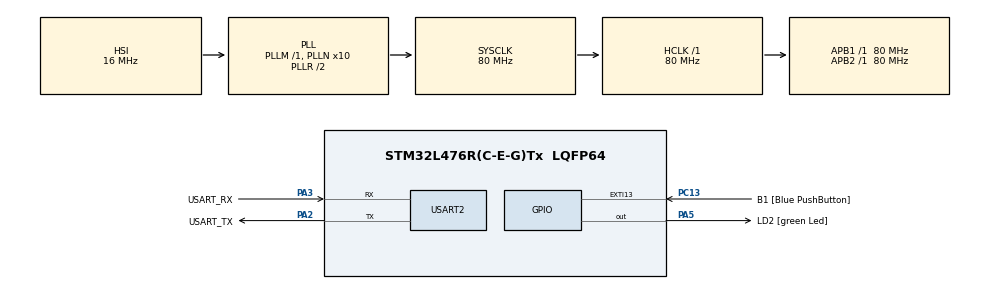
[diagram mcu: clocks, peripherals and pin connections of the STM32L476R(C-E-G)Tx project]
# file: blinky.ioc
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Mcu.Family=STM32L4
Mcu.Name=STM32L476R(C-E-G)Tx
Mcu.Package=LQFP64
NVIC.PriorityGroup=NVIC_PRIORITYGROUP_4
PA13\ (JTMS-SWDIO).GPIO_Label=TMS
PA13\ (JTMS-SWDIO).Mode=Serial_Wire
PA13\ (JTMS-SWDIO).Signal=SYS_JTMS-SWDIO
PA14\ (JTCK-SWCLK).GPIO_Label=TCK
PA14\ (JTCK-SWCLK).Mode=Serial_Wire
PA14\ (JTCK-SWCLK).Signal=SYS_JTCK-SWCLK
PA2.GPIO_Label=USART_TX
PA2.GPIO_Mode=GPIO_MODE_AF_PP
PA2.GPIO_PuPd=GPIO_NOPULL
PA2.GPIO_Speed=GPIO_SPEED_FREQ_VERY_HIGH
PA2.Mode=Asynchronous
PA2.Signal=USART2_TX
PA3.GPIO_Label=USART_RX
PA3.GPIO_Mode=GPIO_MODE_AF_PP
PA3.GPIO_PuPd=GPIO_NOPULL
PA3.GPIO_Speed=GPIO_SPEED_FREQ_VERY_HIGH
PA3.Mode=Asynchronous
PA3.Signal=USART2_RX
PA5.GPIO_Label=LD2 [green Led]
PA5.GPIO_ModeDefaultOutputPP=GPIO_MODE_OUTPUT_PP
PA5.GPIO_PuPd=GPIO_NOPULL
PA5.GPIO_Speed=GPIO_SPEED_FREQ_LOW
PA5.Signal=GPIO_Output
PB3\ (JTDO-TRACESWO).GPIO_Label=SWO
PB3\ (JTDO-TRACESWO).Signal=SYS_JTDO-SWO
PC13.GPIO_Label=B1 [Blue PushButton]
PC13.GPIO_ModeDefaultEXTI=GPIO_MODE_IT_FALLING
PC13.GPIO_PuPd=GPIO_NOPULL
PC13.Signal=GPXTI13
PC14-OSC32_IN\ (PC14).Mode=LSE-External-Oscillator
PC14-OSC32_IN\ (PC14).Signal=RCC_OSC32_IN
PC15-OSC32_OUT\ (PC15).Mode=LSE-External-Oscillator
PC15-OSC32_OUT\ (PC15).Signal=RCC_OSC32_OUT
PH0-OSC_IN\ (PH0).Signal=RCC_OSC_IN
PH1-OSC_OUT\ (PH1).Signal=RCC_OSC_OUT
ProjectManager.HeapSize=0x200
ProjectManager.StackSize=0x400
ProjectManager.TargetToolchain=Makefile
RCC.ADCFreq_Value=64000000
RCC.AHBFreq_Value=80000000
RCC.APB1Freq_Value=80000000
RCC.APB1TimFreq_Value=80000000
RCC.APB2Freq_Value=80000000
RCC.APB2TimFreq_Value=80000000
RCC.CortexFreq_Value=80000000
RCC.HCLKFreq_Value=80000000
RCC.HSE_VALUE=8000000
RCC.HSI_VALUE=16000000
RCC.MSI_VALUE=4000000
RCC.PLLN=10
RCC.PLLSourceVirtual=RCC_PLLSOURCE_HSI
RCC.PREFETCH_ENABLE=1
RCC.SYSCLKFreq_VALUE=80000000
RCC.SYSCLKSource=RCC_SYSCLKSOURCE_PLLCLK
RCC.USBFreq_Value=64000000
RCC.VCOOutputFreq_Value=160000000
USART2.VirtualMode-Asynchronous=VM_ASYNC
board=NUCLEO-L476RG

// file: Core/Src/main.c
/* USER CODE BEGIN Header */
/**
 ******************************************************************************
 * @file           : main.c
 * @brief          : Main program body
 ******************************************************************************
 * @attention
 *
 * Copyright (c) 2024 STMicroelectronics.
 * All rights reserved.
 *
 * This software is licensed under terms that can be found in the LICENSE file
 * in the root directory of this software component.
 * If no LICENSE file comes with this software, it is provided AS-IS.
 *
 ******************************************************************************
 */
/* USER CODE END Header */
#include "main.h"
#include "usart.h"
#include "gpio.h"

/* USER CODE BEGIN Includes */
#include <string.h>

/* USER CODE END Includes */

/* USER CODE BEGIN PV */
char memory2_area[53] __attribute__((section(".ram2"))); // For linker and libc test
extern char __ram2_start[];
extern char __ram2_end[];
extern char __ram2_size[];

/* USER CODE END PV */

void SystemClock_Config(void);

/* USER CODE BEGIN 0 */
extern void zigEntrypoint(void);
extern void SystemInit(void);

// Picolibc will call _init before entering in main
#ifdef __INIT_FINI_FUNCS
// FIXME: If you use crt0-minimal.o, this function will not be called.
void _init(void)
{
    // CMSIS System Initialization
    SystemInit();
    // Initialize to 0 the second ram memory area
    memset(__ram2_start, '\0', (uintptr_t)__ram2_size);
}
#else
#error "CMSIS System Initialization will not be called"
#endif
/* USER CODE END 0 */

int main(void)
{

  /* MCU Configuration--------------------------------------------------------*/

  /* Reset of all peripherals, Initializes the Flash interface and the Systick. */
  HAL_Init();

  /* Configure the system clock */
  SystemClock_Config();

  /* Initialize all configured peripherals */
  MX_GPIO_Init();
  MX_USART2_UART_Init();
  /* USER CODE BEGIN 2 */
    zigEntrypoint();
  /* USER CODE END 2 */

  /* Infinite loop */
    while (1)
    {

    }
}

void SystemClock_Config(void)
{
  RCC_OscInitTypeDef RCC_OscInitStruct = {0};
  RCC_ClkInitTypeDef RCC_ClkInitStruct = {0};

  /** Configure the main internal regulator output voltage
  */
  if (HAL_PWREx_ControlVoltageScaling(PWR_REGULATOR_VOLTAGE_SCALE1) != HAL_OK)
  {
    Error_Handler();
  }

  /** Initializes the RCC Oscillators according to the specified parameters
  * in the RCC_OscInitTypeDef structure.
  */
  RCC_OscInitStruct.OscillatorType = RCC_OSCILLATORTYPE_HSI;
  RCC_OscInitStruct.HSIState = RCC_HSI_ON;
  RCC_OscInitStruct.HSICalibrationValue = RCC_HSICALIBRATION_DEFAULT;
  RCC_OscInitStruct.PLL.PLLState = RCC_PLL_ON;
  RCC_OscInitStruct.PLL.PLLSource = RCC_PLLSOURCE_HSI;
  RCC_OscInitStruct.PLL.PLLM = 1;
  RCC_OscInitStruct.PLL.PLLN = 10;
  RCC_OscInitStruct.PLL.PLLP = RCC_PLLP_DIV7;
  RCC_OscInitStruct.PLL.PLLQ = RCC_PLLQ_DIV2;
  RCC_OscInitStruct.PLL.PLLR = RCC_PLLR_DIV2;
  if (HAL_RCC_OscConfig(&RCC_OscInitStruct) != HAL_OK)
  {
    Error_Handler();
  }

  /** Initializes the CPU, AHB and APB buses clocks
  */
  RCC_ClkInitStruct.ClockType = RCC_CLOCKTYPE_HCLK|RCC_CLOCKTYPE_SYSCLK
                              |RCC_CLOCKTYPE_PCLK1|RCC_CLOCKTYPE_PCLK2;
  RCC_ClkInitStruct.SYSCLKSource = RCC_SYSCLKSOURCE_PLLCLK;
  RCC_ClkInitStruct.AHBCLKDivider = RCC_SYSCLK_DIV1;
  RCC_ClkInitStruct.APB1CLKDivider = RCC_HCLK_DIV1;
  RCC_ClkInitStruct.APB2CLKDivider = RCC_HCLK_DIV1;

  if (HAL_RCC_ClockConfig(&RCC_ClkInitStruct, FLASH_LATENCY_4) != HAL_OK)
  {
    Error_Handler();
  }
}

void Error_Handler(void)
{
    __disable_irq();
    while (1)
    {
    }
}
